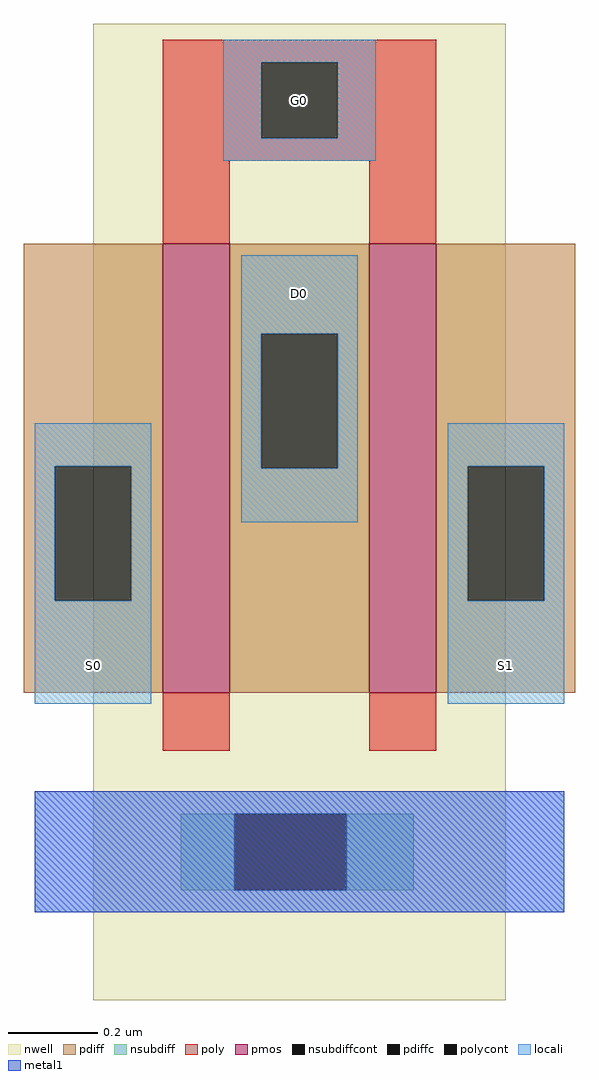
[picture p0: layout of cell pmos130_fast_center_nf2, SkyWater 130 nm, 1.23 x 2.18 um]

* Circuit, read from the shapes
.subckt pmos130_fast_center_nf2 D0 G0 S0 S1
XM1 D0 G0 S0 n1 sky130_fd_pr__pfet_01v8 w=1 l=0.15
XM2 S1 G0 D0 n1 sky130_fd_pr__pfet_01v8 w=1 l=0.15
.ends

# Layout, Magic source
magic
tech sky130A
magscale 1 2
<< nwell >>
rect 0 -66 184 369
<< pmos >>
rect 31 71 61 271
rect 123 71 153 271
<< pdiff >>
rect -31 172 31 271
rect -31 112 -17 172
rect 17 112 31 172
rect -31 71 31 112
rect 61 231 123 271
rect 61 171 75 231
rect 109 171 123 231
rect 61 71 123 171
rect 153 172 215 271
rect 153 112 167 172
rect 201 112 215 172
rect 153 71 215 112
<< pdiffc >>
rect -17 112 17 172
rect 75 171 109 231
rect 167 112 201 172
<< nsubdiff >>
rect 39 -17 63 17
rect 113 -17 143 17
<< nsubdiffcont >>
rect 63 -17 113 17
<< poly >>
rect 31 352 153 362
rect 31 318 75 352
rect 109 318 153 352
rect 31 308 153 318
rect 31 271 61 308
rect 123 271 153 308
rect 31 45 61 71
rect 123 45 153 71
<< polycont >>
rect 75 318 109 352
<< locali >>
rect 58 352 126 362
rect 58 318 75 352
rect 109 318 126 352
rect 58 308 126 318
rect 66 231 118 266
rect -26 172 26 191
rect -26 112 -17 172
rect 17 112 26 172
rect 66 171 75 231
rect 109 171 118 231
rect 66 147 118 171
rect 158 172 210 191
rect -26 66 26 112
rect 158 112 167 172
rect 201 112 210 172
rect 158 66 210 112
rect -26 17 210 27
rect -26 -17 63 17
rect 113 -17 210 17
rect -26 -27 210 -17
<< metal1 >>
rect -26 -27 210 27
<< labels >>
flabel locali 58 308 126 362 0 FreeSans 136 0 0 0 G0
flabel locali 68 232 116 266 0 FreeSans 136 0 0 0 D0
flabel locali -26 66 26 100 0 FreeSans 136 0 0 0 S0
flabel locali 158 66 210 100 0 FreeSans 136 0 0 0 S1
<< end >>
